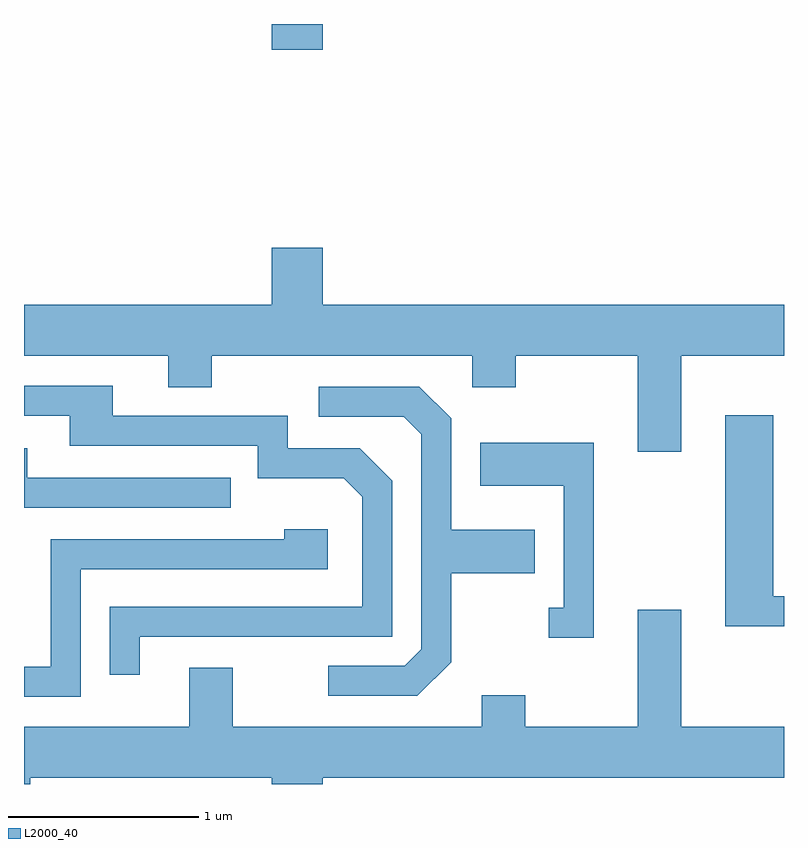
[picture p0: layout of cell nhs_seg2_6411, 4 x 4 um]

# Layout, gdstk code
import gdstk
lib = gdstk.Library(unit=1e-6, precision=1e-09)
def R(c, l, rs):  # rectangles x0, y0, x1, y1
    for r in rs: c.add(gdstk.rectangle(r[:2], r[2:], *l))
def P(c, l, *ps):  # polygons
    for p in ps: c.add(gdstk.Polygon(p, *l))
L2000_40 = (2000, 40)

nhs_seg2_6411 = lib.new_cell('nhs_seg2_6411')
R(nhs_seg2_6411, L2000_40, [(374.916,1087.666,375.184,1087.802)])
P(nhs_seg2_6411, L2000_40, [(377.069,1086.056),(377.611,1086.056),(377.611,1086.324),(375.184,1086.324),(375.184,1086.624),(374.916,1086.624),(374.916,1086.324),(373.611,1086.324),(373.611,1086.056),(374.371,1086.056),(374.371,1085.891),(374.599,1085.891),(374.599,1086.056),(375.971,1086.056),(375.971,1085.891),(376.199,1085.891),(376.199,1086.056),(376.841,1086.056),(376.841,1085.551),(377.069,1085.551)],
  [(374.219,1084.576),(375.549,1084.576),(375.549,1085.397),(375.377,1085.569),(374.999,1085.569),(374.999,1085.739),(374.079,1085.739),(374.079,1085.899),(373.611,1085.899),(373.611,1085.741),(373.851,1085.741),(373.851,1085.581),(374.841,1085.581),(374.841,1085.411),(375.294,1085.411),(375.391,1085.314),(375.391,1084.734),(374.061,1084.734),(374.061,1084.378),(374.219,1084.378)],
  [(375.859,1084.444),(375.859,1084.911),(376.299,1084.911),(376.299,1085.139),(375.859,1085.139),(375.859,1085.727),(375.692,1085.894),(375.163,1085.894),(375.163,1085.736),(375.609,1085.736),(375.701,1085.644),(375.701,1084.512),(375.614,1084.424),(375.213,1084.424),(375.213,1084.266),(375.682,1084.266)],
  [(377.611,1084.789),(377.554,1084.789),(377.554,1085.744),(377.301,1085.744),(377.301,1084.631),(377.611,1084.631)],
  [(376.609,1085.599),(376.011,1085.599),(376.011,1085.371),(376.451,1085.371),(376.451,1084.729),(376.373,1084.729),(376.373,1084.571),(376.609,1084.571)],
  [(374.698,1085.414),(373.629,1085.414),(373.629,1085.569),(373.611,1085.569),(373.611,1085.256),(374.698,1085.256)],
  [(373.909,1084.931),(375.209,1084.931),(375.209,1085.144),(374.981,1085.144),(374.981,1085.089),(373.751,1085.089),(373.751,1084.419),(373.611,1084.419),(373.611,1084.261),(373.909,1084.261)],
  [(373.644,1083.836),(374.916,1083.836),(374.916,1083.802),(375.184,1083.802),(375.184,1083.836),(377.611,1083.836),(377.611,1084.104),(377.069,1084.104),(377.069,1084.719),(376.841,1084.719),(376.841,1084.104),(376.249,1084.104),(376.249,1084.269),(376.021,1084.269),(376.021,1084.104),(374.709,1084.104),(374.709,1084.414),(374.481,1084.414),(374.481,1084.104),(373.611,1084.104),(373.611,1083.802),(373.644,1083.802)])

lib.write_gds('nhs_seg2_6411.gds')
